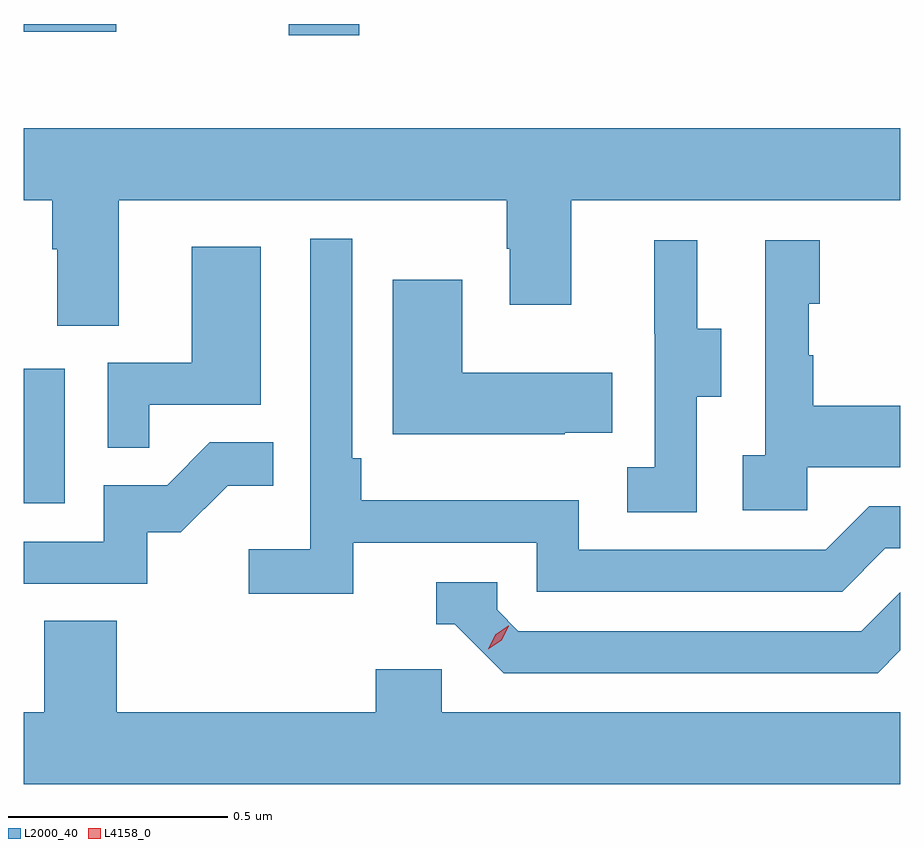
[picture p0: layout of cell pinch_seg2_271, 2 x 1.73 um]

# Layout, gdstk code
import gdstk
lib = gdstk.Library(unit=1e-6, precision=1e-09)
def R(c, l, rs):  # rectangles x0, y0, x1, y1
    for r in rs: c.add(gdstk.rectangle(r[:2], r[2:], *l))
def P(c, l, *ps):  # polygons
    for p in ps: c.add(gdstk.Polygon(p, *l))
L2000_40 = (2000, 40)
L4158_0 = (4158, 0)

pinch_seg2_271 = lib.new_cell('pinch_seg2_271')
R(pinch_seg2_271, L2000_40, [(890.22,664.26,890.314,664.567), (890.825,665.328,890.986,665.354), (890.22,665.336,890.431,665.354)])
P(pinch_seg2_271, L2000_40, [(890.437,664.952),(891.322,664.952),(891.322,664.841),(891.329,664.841),(891.329,664.713),(891.469,664.713),(891.469,664.952),(892.22,664.952),(892.22,665.116),(890.22,665.116),(890.22,664.952),(890.285,664.952),(890.285,664.84),(890.297,664.84),(890.297,664.666),(890.437,664.666)],
  [(890.972,664.17),(891.39,664.17),(891.39,664.059),(892.087,664.059),(892.186,664.158),(892.22,664.158),(892.22,664.254),(892.149,664.254),(892.05,664.155),(891.486,664.155),(891.486,664.267),(890.99,664.267),(890.99,664.363),(890.97,664.363),(890.97,664.864),(890.874,664.864),(890.874,664.156),(890.733,664.156),(890.733,664.054),(890.972,664.054)],
  [(892.008,664.343),(892.22,664.343),(892.22,664.483),(892.021,664.483),(892.021,664.598),(892.011,664.598),(892.011,664.716),(892.036,664.716),(892.036,664.861),(891.912,664.861),(891.912,664.37),(891.861,664.37),(891.861,664.245),(892.008,664.245)],
  [(891.756,664.504),(891.811,664.504),(891.811,664.659),(891.757,664.659),(891.757,664.861),(891.659,664.861),(891.659,664.647),(891.66,664.647),(891.66,664.343),(891.597,664.343),(891.597,664.24),(891.756,664.24)],
  [(890.507,664.485),(890.761,664.485),(890.761,664.846),(890.603,664.846),(890.603,664.581),(890.412,664.581),(890.412,664.387),(890.507,664.387)],
  [(891.455,664.421),(891.563,664.421),(891.563,664.558),(891.22,664.558),(891.22,664.771),(891.062,664.771),(891.062,664.418),(891.455,664.418)],
  [(890.502,664.194),(890.578,664.194),(890.685,664.301),(890.789,664.301),(890.789,664.4),(890.645,664.4),(890.547,664.302),(890.403,664.302),(890.403,664.173),(890.22,664.173),(890.22,664.077),(890.502,664.077)],
  [(892.22,663.925),(892.22,664.058),(892.131,663.969),(891.348,663.969),(891.3,664.017),(891.3,664.08),(891.161,664.08),(891.161,663.984),(891.204,663.984),(891.315,663.873),(892.168,663.873)],
  [(892.22,663.784),(891.174,663.784),(891.174,663.882),(891.023,663.882),(891.023,663.784),(890.432,663.784),(890.432,663.992),(890.267,663.992),(890.267,663.784),(890.22,663.784),(890.22,663.62),(892.22,663.62)])
P(pinch_seg2_271, L4158_0, [(891.28,663.928),(891.28,663.928),(891.296,663.961),(891.326,663.981),(891.327,663.981),(891.327,663.98),(891.311,663.948),(891.28,663.928)])

lib.write_gds('pinch_seg2_271.gds')
